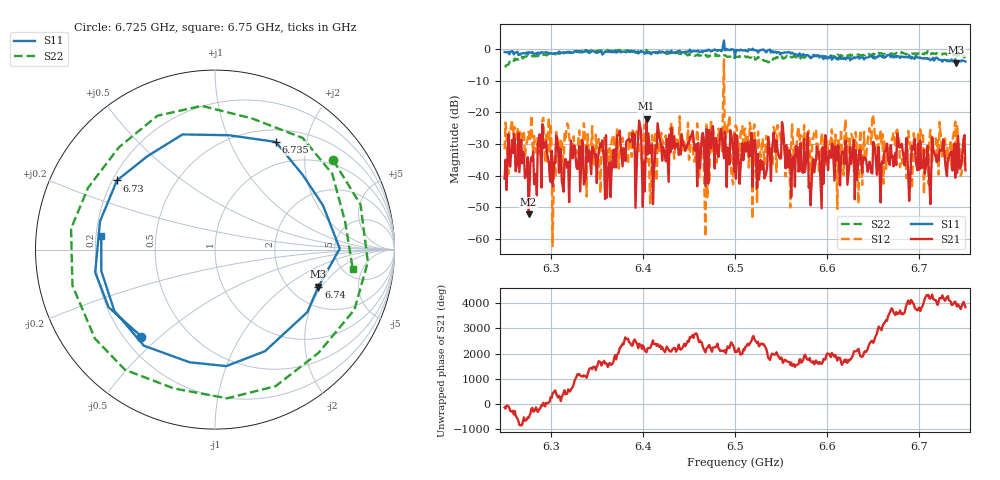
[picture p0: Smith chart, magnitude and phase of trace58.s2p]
# Hz S RI R 50
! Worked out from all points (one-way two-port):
!   401 points, 6.25 GHz to 6.75 GHz, reference 50 ohm
!   highest |S21| = -21.94 dB at 6.404 GHz (marker M1); lowest = -52.2 dB at 6.276 GHz (marker M2)
!   lowest |S11| = -4.3 dB at 6.74 GHz (marker M3), VSWR 4.15, Z = 141 - j92.7 ohm
!   |S11| at or under -10 dB: nowhere
!   |S22| runs from -5.6 to -0.2 dB; largest |S21 - S12| = 0.7
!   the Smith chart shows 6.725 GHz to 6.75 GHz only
!   S11 on the Smith chart (normalised r, x): 6.725 GHz: 0.27, -0.44; 6.73 GHz: 0.22, +0.30; 6.735 GHz: 0.66, +1.50; 6.74 GHz: 2.82, -1.85; 6.75 GHz: 0.22, +0.06
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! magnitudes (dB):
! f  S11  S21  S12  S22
! 6.25 GHz  -0.9  -40.9  -31.7  -5.6
! 6.259 GHz  -0.8  -32.9  -26.7  -3.3
! 6.276 GHz  -1.0  -52.2  -26.1  -2.3
! 6.298 GHz  -1.1  -35.6  -21.5  -1.4
! 6.304 GHz  -1.3  -35.7  -33.5  -1.4
! 6.334 GHz  -1.0  -28.6  -29.3  -0.5
! 6.404 GHz  -1.0  -21.9  -35.6  -0.2
! 6.418 GHz  -0.7  -28.0  -32.9  -0.9
! 6.461 GHz  -1.0  -33.8  -41.2  -2.1
! 6.47 GHz  -0.5  -25.8  -47.2  -2.5
! 6.485 GHz  -0.6  -25.2  -24.7  -2.2
! 6.5 GHz  -2.4  -26.8  -24.4  -2.8
! 6.521 GHz  -0.2  -28.8  -23.8  -2.5
! 6.554 GHz  -1.0  -32.8  -33.1  -2.8
! 6.584 GHz  -2.4  -36.6  -28.3  -2.4
! 6.668 GHz  -1.9  -36.6  -30.3  -1.5
! 6.708 GHz  -2.8  -35.5  -31.3  -1.3
! 6.725 GHz  -4.0  -32.0  -33.9  -1.7
! 6.73 GHz  -3.5  -40.1  -30.8  -1.8
! 6.735 GHz  -3.2  -32.4  -37.7  -1.5
! 6.74 GHz  -4.3  -30.0  -35.8  -2.1
! 6.75 GHz  -3.9  -38.3  -30.0  -2.2
